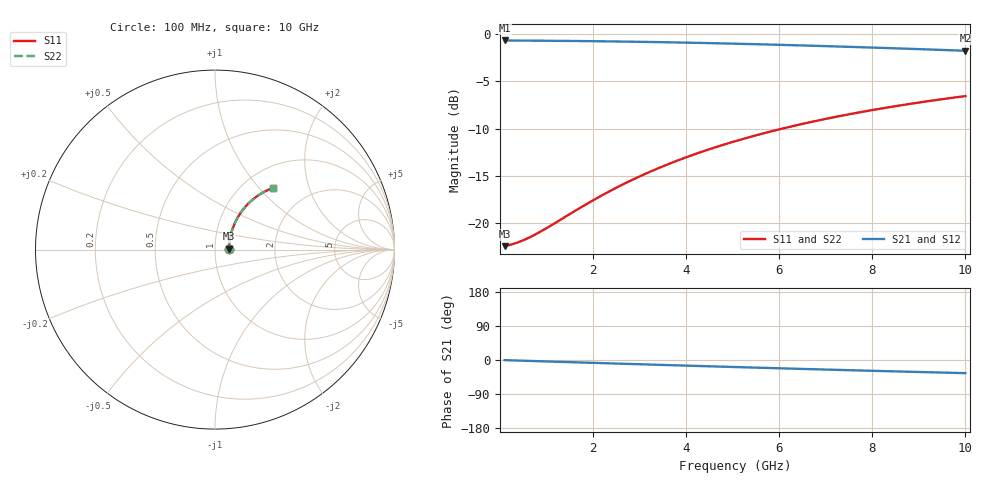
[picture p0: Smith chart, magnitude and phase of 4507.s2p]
# Hz S RI R 50.00
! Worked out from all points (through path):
!   100 points, 100 MHz to 10 GHz, reference 50 ohm
!   highest |S21| = -0.68 dB at 100 MHz (marker M1); lowest = -1.8 dB at 10 GHz (marker M2)
!   group delay of S21, straight-line fit = 9.67 ps
!   lowest |S11| = -22.4 dB at 100 MHz (marker M3), VSWR 1.16, Z = 58.2 + j0.573 ohm
!   |S11| at or under -10 dB: start of sweep to 6.058 GHz
!   |S22| runs from -22.4 to -6.6 dB; largest |S21 - S12| = 0
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1e8  0.0757 0.0049  0.9243 -0.00609  0.9243 -0.00609  0.0757 0.0049
3e8  0.0767 0.0147  0.9232 -0.0182  0.9232 -0.0182  0.0767 0.0147
4e8  0.0772 0.0195  0.9227 -0.0243  0.9227 -0.0243  0.0772 0.0195
5e8  0.0778 0.0244  0.9222 -0.0304  0.9222 -0.0304  0.0778 0.0244
7e8  0.0789 0.0341  0.921 -0.0425  0.921 -0.0425  0.0789 0.0341
1e9  0.081 0.0485  0.9189 -0.0605  0.9189 -0.0605  0.081 0.0485
1.8e9  0.0889 0.0864  0.9108 -0.108  0.9108 -0.108  0.0889 0.0864
2.2e9  0.0943 0.1049  0.9054 -0.1313  0.9054 -0.1313  0.0943 0.1049
2.6e9  0.1005 0.123  0.899 -0.1542  0.899 -0.1542  0.1005 0.123
3e9  0.1075 0.1406  0.8918 -0.1766  0.8918 -0.1766  0.1075 0.1406
3.4e9  0.1154 0.1578  0.8837 -0.1986  0.8837 -0.1986  0.1154 0.1578
3.8e9  0.1241 0.1744  0.8748 -0.22  0.8748 -0.22  0.1241 0.1744
4.2e9  0.1335 0.1904  0.8652 -0.2409  0.8652 -0.2409  0.1335 0.1904
4.6e9  0.1436 0.2058  0.8548 -0.2611  0.8548 -0.2611  0.1436 0.2058
5.1e9  0.1571 0.2241  0.8409 -0.2854  0.8409 -0.2854  0.1571 0.2241
5.5e9  0.1686 0.238  0.8291 -0.3041  0.8291 -0.3041  0.1686 0.238
5.9e9  0.1806 0.2511  0.8167 -0.3221  0.8167 -0.3221  0.1806 0.2511
6.7e9  0.206 0.2752  0.7906 -0.3559  0.7906 -0.3559  0.206 0.2752
7.5e9  0.2328 0.2962  0.7629 -0.3867  0.7629 -0.3867  0.2328 0.2962
8.4e9  0.2642 0.3163  0.7304 -0.4178  0.7304 -0.4178  0.2642 0.3163
9.2e9  0.2928 0.3309  0.7007 -0.4423  0.7007 -0.4423  0.2928 0.3309
1e10  0.3216 0.3427  0.6706 -0.4639  0.6706 -0.4639  0.3216 0.3427
